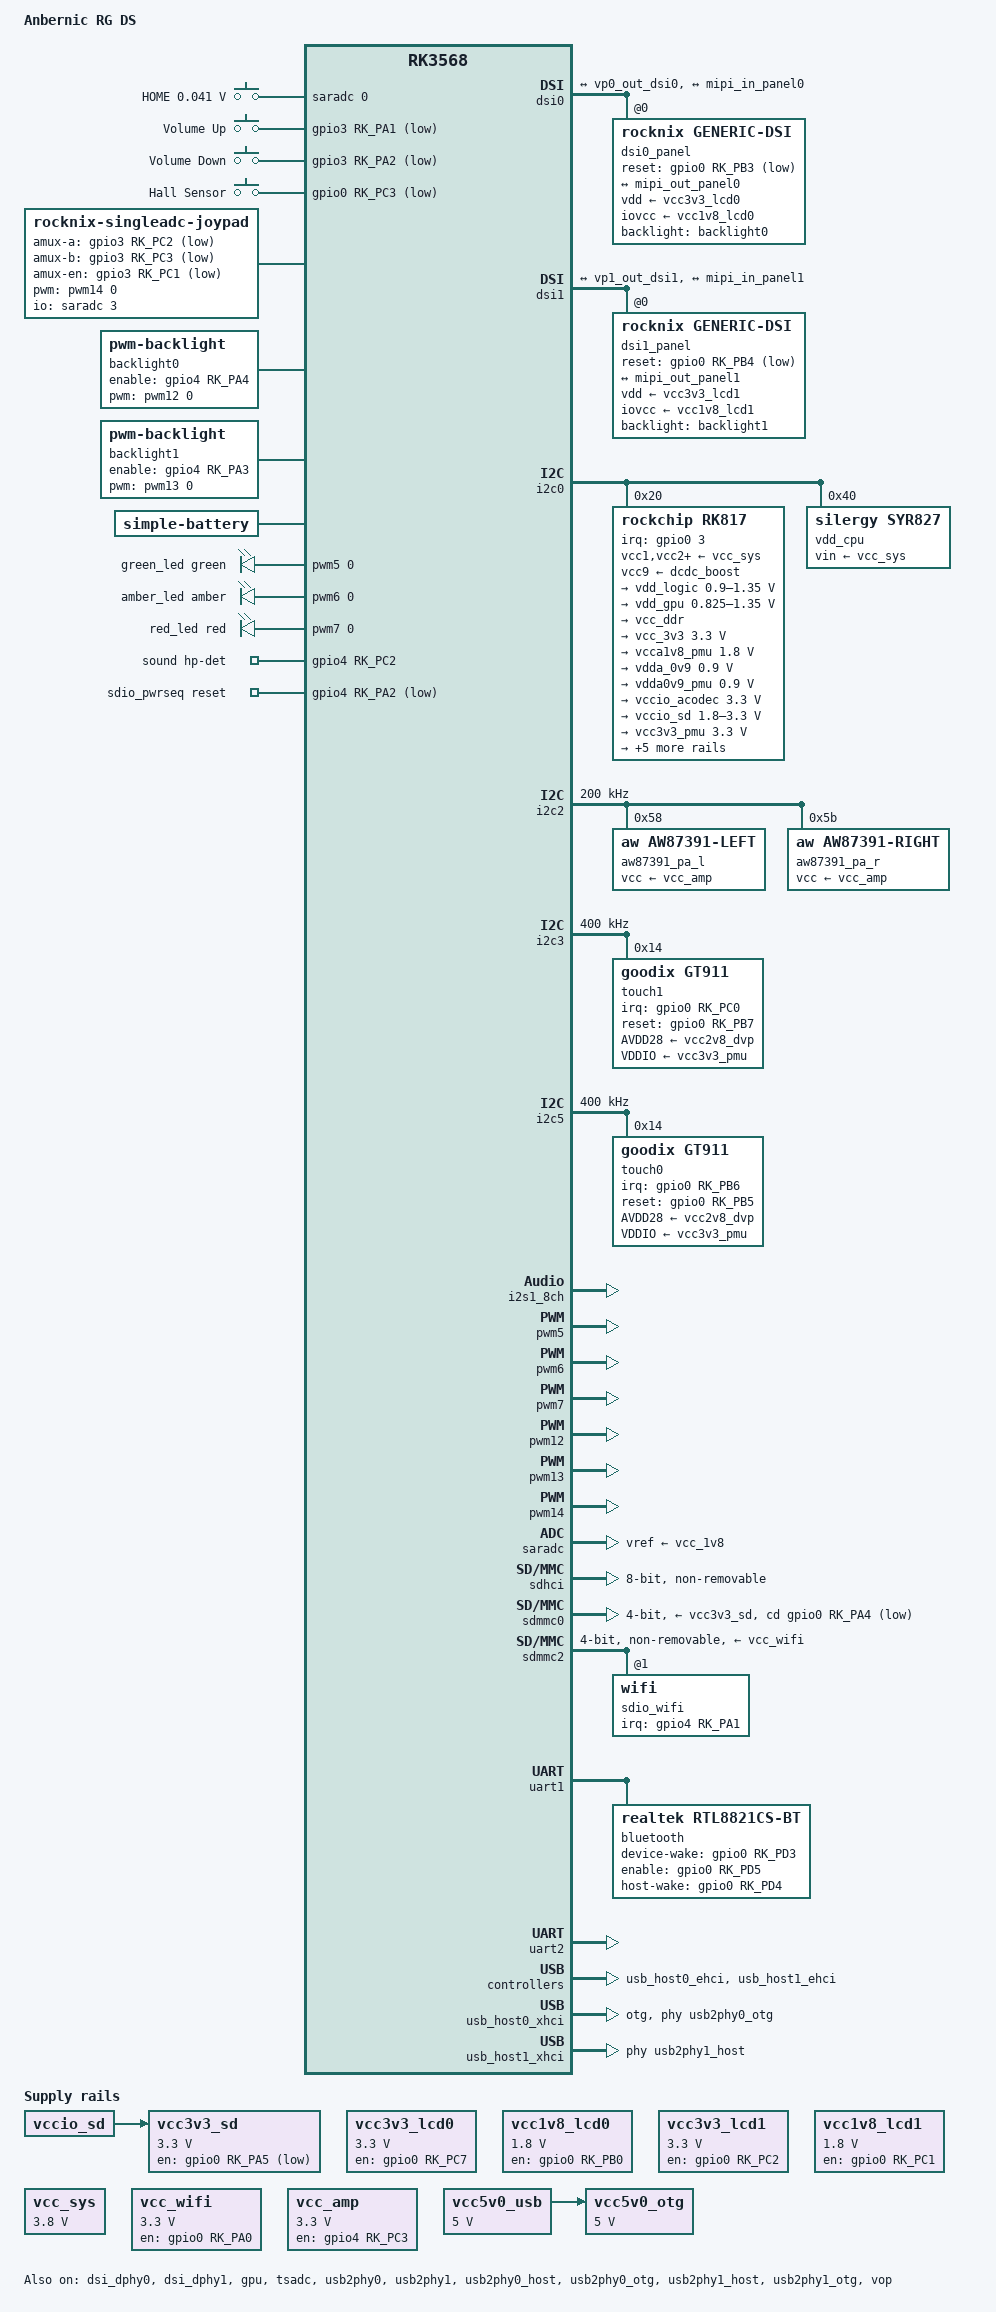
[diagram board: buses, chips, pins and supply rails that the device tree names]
// SPDX-License-Identifier: (GPL-2.0+ OR MIT)

/dts-v1/;

#include <dt-bindings/gpio/gpio.h>
#include <dt-bindings/input/linux-event-codes.h>
#include <dt-bindings/leds/common.h>
#include <dt-bindings/pinctrl/rockchip.h>
#include <dt-bindings/soc/rockchip,vop2.h>
#include "rk3568.dtsi"

/ {
	model = "Anbernic RG DS";
	chassis-type = "handset";
	compatible = "anbernic,rg-ds", "rockchip,rk3568";

	aliases {
		mmc0 = &sdhci;
		mmc1 = &sdmmc0;
		mmc2 = &sdmmc2;
	};

	chosen: chosen {
		stdout-path = "serial2:1500000n8";
	};

	adc_keys_home: adc-keys-home {
		compatible = "adc-keys";
		io-channels = <&saradc 0>;
		io-channel-names = "buttons";
		keyup-threshold-microvolt = <1800000>;
		poll-interval = <60>;

		button-home {
			label = "HOME";
			linux,code = <BTN_Z>;
			press-threshold-microvolt = <41000>;
		};
	};

	keys: gpio-keys {
		compatible = "gpio-keys";
		pinctrl-names = "default";
		pinctrl-0 = <&vol_keys>, <&gpio_hall>;
	
	    vol-up-key {
	    	gpios = <&gpio3 RK_PA1 GPIO_ACTIVE_LOW>;
	    	linux,code = <KEY_VOLUMEUP>;
	    	label = "Volume Up";
	    };

	    vol-down-key {
	    	gpios = <&gpio3 RK_PA2 GPIO_ACTIVE_LOW>;
	    	linux,code = <KEY_VOLUMEDOWN>;
	    	label = "Volume Down";
	    };

        hall-sensor {
            gpios = <&gpio0 RK_PC3 GPIO_ACTIVE_LOW>;
			linux,code = <SW_LID>;
			linux,input-type = <EV_SW>;
            label = "Hall Sensor";
            wakeup-source;
        };
    };

	joypad: rocknix-singleadc-joypad {
		compatible = "rocknix-singleadc-joypad";

		joypad-name = "retrogame_joypad";
		joypad-product = <0x1101>;
		joypad-revision = <0x0100>;
        joypad-vendor = <0x484B>;

        status = "okay";

		pinctrl-names = "default";
		pinctrl-0 = <&button_pins>;

		pwms = <&pwm14 0 100000 0>;
		pwm-names = "enable";
		rumble-boost-weak = <0x00>;
		rumble-boost-strong = <0x00>;

		io-channel-names = "amux_adc";
		io-channels = <&saradc 3>;
		amux-count = <4>;
		amux-channel-mapping = <1 0 2 3>;
		amux-a-gpios = <&gpio3 RK_PC2 GPIO_ACTIVE_LOW>;
		amux-b-gpios = <&gpio3 RK_PC3 GPIO_ACTIVE_LOW>;
		amux-en-gpios = <&gpio3 RK_PC1 GPIO_ACTIVE_LOW>;

		button-adc-scale = <2>;
		button-adc-deadzone = <64>;
		button-adc-fuzz = <32>;
		button-adc-flat = <32>;

		abs_x-p-tuning = <250>;
		abs_x-n-tuning = <250>;
		abs_y-p-tuning = <250>;
		abs_y-n-tuning = <250>;
		abs_rx-p-tuning = <250>;
		abs_rx-n-tuning = <250>;
		abs_ry-p-tuning = <250>;
		abs_ry-n-tuning = <250>;
		invert-absx;
		invert-absy;
		invert-absry;

		poll-interval = <5>;

		sw1 {
	        gpios = <&gpio2 RK_PD4 GPIO_ACTIVE_LOW>;
	        label = "GPIO DPAD-UP";
			linux,code = <BTN_DPAD_UP>;
		};
		sw2 {
	        gpios = <&gpio2 RK_PD5 GPIO_ACTIVE_LOW>;
	        label = "GPIO DPAD-DOWN";
			linux,code = <BTN_DPAD_DOWN>;				
		};
		sw3 {
	        gpios = <&gpio2 RK_PD7 GPIO_ACTIVE_LOW>;
	        label = "GPIO DPAD-LEFT";
			linux,code = <BTN_DPAD_LEFT>;					
		};
		sw4 {
	        gpios = <&gpio2 RK_PD6 GPIO_ACTIVE_LOW>;
	        label = "GPIO DPAD-RIGHT";
			linux,code = <BTN_DPAD_RIGHT>;					
		};
		sw5 {
		    gpios = <&gpio3 RK_PC0 GPIO_ACTIVE_LOW>;
		    label = "GPIO BTN-B";
		    linux,code = <BTN_SOUTH>;
		};
		sw6 {
		    gpios = <&gpio3 RK_PB7 GPIO_ACTIVE_LOW>;
		    label = "GPIO KEY BTN-A";
		    linux,code = <BTN_EAST>;
		};
		sw7 {
		    gpios = <&gpio3 RK_PA7 GPIO_ACTIVE_LOW>;
		    label = "GPIO BTN-X";
		    linux,code = <BTN_NORTH>;
		};
		sw8 {
		    gpios = <&gpio3 RK_PB0 GPIO_ACTIVE_LOW>;
		    label = "GPIO BTN-Y";
		    linux,code = <BTN_WEST>;
		};
		sw9 {
		    gpios = <&gpio3 RK_PB2 GPIO_ACTIVE_LOW>;
		    label = "GPIO BTN-SELECT";
		    linux,code = <BTN_SELECT>;
		};
		sw10 {
		    gpios = <&gpio3 RK_PB1 GPIO_ACTIVE_LOW>;
		    label = "GPIO BTN-START";
		    linux,code = <BTN_START>;
		};
		sw11 {
		    gpios = <&gpio2 RK_PD1 GPIO_ACTIVE_LOW>;
			label = "GPIO BTN-F";
		    linux,code = <BTN_MODE>;
		};	
		sw12 {
		    gpios = <&gpio3 RK_PA3 GPIO_ACTIVE_LOW>;
		    label = "GPIO BTN-TL";
		    linux,code = <BTN_TL>;
		};
		sw13 {
		    gpios = <&gpio3 RK_PA5 GPIO_ACTIVE_LOW>;
		    label = "GPIO BTN-TR";
		    linux,code = <BTN_TR>;
		};
		sw14 {
		    gpios = <&gpio3 RK_PA4 GPIO_ACTIVE_LOW>;
		    label = "GPIO BTN-TL2";
		    linux,code = <BTN_TL2>;
		};
		sw15 {
		    gpios = <&gpio3 RK_PA6 GPIO_ACTIVE_LOW>;
		    label = "GPIO BTN-TR2";
		    linux,code = <BTN_TR2>;
		};
		sw16 {
		    gpios = <&gpio2 RK_PD2 GPIO_ACTIVE_LOW>;
			label = "GPIO BTN-THUMBL";
		    linux,code = <BTN_THUMBL>;
		};
		sw17 {
		    gpios = <&gpio2 RK_PD3 GPIO_ACTIVE_LOW>;
			label = "GPIO BTN-THUMBR";
		    linux,code = <BTN_THUMBR>;
		};
    };

	backlight0: backlight0 {
		compatible = "pwm-backlight";
		enable-gpios = <&gpio4 RK_PA4 GPIO_ACTIVE_HIGH>;
		pwms = <&pwm12 0 25000 0>;
	};

	backlight1: backlight1 {
		compatible = "pwm-backlight";
		enable-gpios = <&gpio4 RK_PA3 GPIO_ACTIVE_HIGH>;
		pwms = <&pwm13 0 25000 0>;
	};

	/*
	 * Values taken from BSP device-tree except for
	 * "charge-full-design-microamp-hours" which was set
	 * incorrectly at 2500000 (based on markings on the battery),
	 * "factory-internal-resistance-micro-ohms" which was set at 8
	 * which was obviously incorrect.
	 * "constant-charge-current-max-microamp" was set at 10 AMPs
	 * which is likely incorrect but I cannot validate; furthermore
	 * the onboard charger of the rk817 cannot charge past 3.5A
	 * anyway.
	 *
	 * The current OCV table has been extended to the expected endpoint
	 * for a 3.8V 4000mAh battery, monitoring for actual discharge rates
	 * will take time, but this will at least provide more base runtime. 
	 */
	battery: battery {
		compatible = "simple-battery";
		charge-full-design-microamp-hours = <4000000>;
		precharge-current-microamp = <180000>;
		precharge-upper-limit-microvolt = <3600000>;
		charge-term-current-microamp = <300000>;
		constant-charge-current-max-microamp = <3500000>;
		constant-charge-voltage-max-microvolt = <4350000>;
		factory-internal-resistance-micro-ohms = <80000>;
		voltage-max-design-microvolt = <4350000>;
		voltage-min-design-microvolt = <3000000>;

		ocv-capacity-celsius = <20>;
		ocv-capacity-table-0 =  <4328000 100>, <4271000 95>, <4221000 90>,
    		                    <4173000 85>, <4129000 80>, <4085000 75>,
    		                    <4041000 70>, <3996000 65>, <3962000 60>,
    		                    <3931000 55>, <3904000 50>, <3882000 45>,
    		                    <3862000 40>, <3844000 35>, <3828000 30>,
    		                    <3811000 25>, <3794000 20>, <3778000 15>,
    		                    <3762000 10>, <3740000 8>, <3700000 6>,
    		                    <3650000 4>, <3600000 2>, <3500000 1>,
    		                    <3000000 0>;
    };

	leds: pwm-leds {
		compatible = "pwm-leds";

		green_led: led-0 {
			color = <LED_COLOR_ID_GREEN>;
			default-state = "on";
			function = LED_FUNCTION_POWER;
			max-brightness = <255>;
			pwms = <&pwm5 0 25000 0>;
		};

		amber_led: led-1 {
			color = <LED_COLOR_ID_AMBER>;
			function = LED_FUNCTION_CHARGING;
			max-brightness = <255>;
			pwms = <&pwm6 0 25000 0>;
		};

		red_led: led-2 {
			color = <LED_COLOR_ID_RED>;
			default-state = "off";
			function = LED_FUNCTION_STATUS;
			max-brightness = <255>;
			pwms = <&pwm7 0 25000 0>;
		};
	};

    sound {
        compatible = "simple-audio-card";
        pinctrl-0 = <&hp_det>;
        pinctrl-names = "default";
        simple-audio-card,name = "rk817_ext";
        simple-audio-card,format = "i2s";
        simple-audio-card,hp-det-gpios = <&gpio4 RK_PC2 GPIO_ACTIVE_HIGH>;
        simple-audio-card,mclk-fs = <256>;
        simple-audio-card,aux-devs = <&aw87391_pa_l>, <&aw87391_pa_r>;
        simple-audio-card,widgets =
            "Microphone", "Mic Jack",
            "Headphone", "Headphones",
            "Speaker", "Internal Speakers";
        simple-audio-card,routing =
            "MICL", "Mic Jack",
            "Headphones", "HPOL",
            "Headphones", "HPOR",
            "Internal Speakers", "Left AMP OUT",
            "Internal Speakers", "Right AMP OUT",
            "Left AMP IN", "HPOL",
            "Right AMP IN", "HPOR";
        simple-audio-card,pin-switches = "Internal Speakers";

        simple-audio-card,codec {
            sound-dai = <&rk817>;
        };

        simple-audio-card,cpu {
            sound-dai = <&i2s1_8ch>;
        };
    };

	sdio_pwrseq: sdio-pwrseq {
		compatible = "mmc-pwrseq-simple";
		clocks = <&rk817 1>;
		clock-names = "ext_clock";
		pinctrl-0 = <&wifi_enable_h>;
		pinctrl-names = "default";
		post-power-on-delay-ms = <200>;
		reset-gpios = <&gpio4 RK_PA2 GPIO_ACTIVE_LOW>;
	};

	vcc3v3_lcd0: regulator-vcc3v3-lcd0 {
		compatible = "regulator-fixed";
		enable-active-high;
		gpio = <&gpio0 RK_PC7 GPIO_ACTIVE_HIGH>;
		pinctrl-0 = <&vcc3v3_lcd0_h>;
		pinctrl-names = "default";
		regulator-min-microvolt = <3300000>;
		regulator-max-microvolt = <3300000>;
		regulator-name = "vcc3v3_lcd0";
		regulator-state-mem {
			regulator-off-in-suspend;
		};
	};

	vcc1v8_lcd0: regulator-vcc1v8-lcd0 {
		compatible = "regulator-fixed";
		enable-active-high;
		gpio = <&gpio0 RK_PB0 GPIO_ACTIVE_HIGH>;
		pinctrl-0 = <&vcc1v8_lcd0_h>;
		pinctrl-names = "default";
		regulator-min-microvolt = <1800000>;
		regulator-max-microvolt = <1800000>;
		regulator-name = "vcc1v8_lcd0";
		regulator-state-mem {
			regulator-off-in-suspend;
		};
	};

	vcc3v3_lcd1: regulator-vcc3v3-lcd1 {
		compatible = "regulator-fixed";
		enable-active-high;
		gpio = <&gpio0 RK_PC2 GPIO_ACTIVE_HIGH>;
		pinctrl-0 = <&vcc3v3_lcd1_h>;
		pinctrl-names = "default";
		regulator-min-microvolt = <3300000>;
		regulator-max-microvolt = <3300000>;
		regulator-name = "vcc3v3_lcd1";
		regulator-state-mem {
			regulator-off-in-suspend;
		};
	};

	vcc1v8_lcd1: regulator-vcc1v8-lcd1 {
		compatible = "regulator-fixed";
		enable-active-high;
		gpio = <&gpio0 RK_PC1 GPIO_ACTIVE_HIGH>;
		pinctrl-0 = <&vcc1v8_lcd1_h>;
		pinctrl-names = "default";
		regulator-min-microvolt = <1800000>;
		regulator-max-microvolt = <1800000>;
		regulator-name = "vcc1v8_lcd1";
		regulator-state-mem {
			regulator-off-in-suspend;
		};
	};

	vcc3v3_sd: regulator-vcc3v3-sd {
		compatible = "regulator-fixed";
		gpio = <&gpio0 RK_PA5 GPIO_ACTIVE_HIGH>;
		pinctrl-names = "default";
		pinctrl-0 = <&sdmmc_pwren_l>;
		regulator-name = "vcc3v3_sd";
		regulator-min-microvolt = <3300000>;
		regulator-max-microvolt = <3300000>;
		vin-supply = <&vccio_sd>;
	};

	vcc_sys: regulator-vcc-sys {
		compatible = "regulator-fixed";
		regulator-always-on;
		regulator-boot-on;
		regulator-min-microvolt = <3800000>;
		regulator-max-microvolt = <3800000>;
		regulator-name = "vcc_sys";
	};

	vcc_wifi: regulator-vcc-wifi {
		compatible = "regulator-fixed";
		enable-active-high;
		gpio = <&gpio0 RK_PA0 GPIO_ACTIVE_HIGH>;
		pinctrl-0 = <&vcc_wifi_h>;
		pinctrl-names = "default";
		regulator-always-on;
		regulator-boot-on;
		regulator-min-microvolt = <3300000>;
		regulator-max-microvolt = <3300000>;
		regulator-name = "vcc_wifi";
	};

    vcc_amp: regulator-vcc-amp {
        compatible = "regulator-fixed";
		enable-active-high;
		gpio = <&gpio4 RK_PC3 GPIO_ACTIVE_HIGH>;
		pinctrl-0 = <&vcc_amp_h>;
		pinctrl-names = "default";
		regulator-min-microvolt = <3300000>;
		regulator-max-microvolt = <3300000>;
        regulator-name = "vcc_amp";
		regulator-state-mem {
			regulator-off-in-suspend;
		};
    };

	vcc5v0_usb: regulator-vcc5v0-usb {
		compatible = "regulator-fixed";
		regulator-always-on;
		regulator-boot-on;
		regulator-min-microvolt = <5000000>;
		regulator-max-microvolt = <5000000>;
		regulator-name = "vcc5v0_usb";
	};

	vcc5v0_otg: regulator-vcc5v0-otg {
		compatible = "regulator-fixed";
		enable-active-high;
		regulator-min-microvolt = <5000000>;
		regulator-max-microvolt = <5000000>;
		regulator-name = "vcc5v0_otg";
		vin-supply = <&vcc5v0_usb>;
	};
};

&cpu0 {
	cpu-supply = <&vdd_cpu>;
};

&cpu1 {
	cpu-supply = <&vdd_cpu>;
};

&cpu2 {
	cpu-supply = <&vdd_cpu>;
};

&cpu3 {
	cpu-supply = <&vdd_cpu>;
};

&cru {
	assigned-clocks = <&pmucru CLK_RTC_32K>, <&cru PLL_GPLL>,
			  <&pmucru PLL_PPLL>, <&pmucru PLL_HPLL>, <&cru PLL_VPLL>;
	assigned-clock-rates = <32768>, <1200000000>,
			       <200000000>, <126400000>, <126400000>;
};

&dsi0 {
    status = "okay";
	#address-cells = <1>;
	#size-cells = <0>;

	dsi0_panel: panel@0 {
		compatible = "rocknix,generic-dsi";
		reg = <0>;
		backlight = <&backlight0>;
		reset-gpios = <&gpio0 RK_PB3 GPIO_ACTIVE_LOW>;
		vdd-supply = <&vcc3v3_lcd0>;
		iovcc-supply = <&vcc1v8_lcd0>;
		pinctrl-names = "default";
		pinctrl-0 = <&lcd0_rst>;
		panel_description =
			"G size=81,61 delays=20,10,50,120,50 format=rgb888 lanes=4 flags=0xc03",

			"M clock=42134 horizontal=640,260,220,260 vertical=480,10,2,16 default=1",
			
			"I seq=e000", "I seq=e193", "I seq=e265", "I seq=e3f8",
			"I seq=8003",
			"I seq=e001",
			"I seq=0000", "I seq=016a", "I seq=0310", "I seq=046a",
			"I seq=0c74",
			"I seq=1700",
			"I seq=18bf", "I seq=1901", "I seq=1a00", "I seq=1bbf", "I seq=1c01",
			"I seq=24fe",
			"I seq=3709",
			"I seq=3802", "I seq=3908", "I seq=3a1f", "I seq=3cf7", "I seq=3dff", "I seq=3eff", "I seq=3fff",
			"I seq=4003", "I seq=413c", "I seq=42ff", "I seq=430a", "I seq=4411", "I seq=4578",
			"I seq=5502", "I seq=576d",
			"I seq=580a", "I seq=590a", "I seq=5a1f", "I seq=5b1f", "I seq=5d7f", "I seq=5e56", "I seq=5f43",
			"I seq=6034", "I seq=612f", "I seq=6220", "I seq=6322", "I seq=640c", "I seq=6524", "I seq=6624", "I seq=6725",
			"I seq=6843", "I seq=6933", "I seq=6a3a", "I seq=6b2d", "I seq=6c28", "I seq=6d1b", "I seq=6e0b", "I seq=6f00",
			"I seq=707f", "I seq=7156", "I seq=7243", "I seq=7334", "I seq=742f", "I seq=7520", "I seq=7622", "I seq=770c",
			"I seq=7824", "I seq=7924", "I seq=7a25", "I seq=7b43", "I seq=7c33", "I seq=7d3a", "I seq=7e2d", "I seq=7f28",
			"I seq=801b", "I seq=810b", "I seq=8200",
			"I seq=e002",
			"I seq=005f", "I seq=015f", "I seq=025f", "I seq=035e", "I seq=0450", "I seq=0540", "I seq=065f", "I seq=0757",
			"I seq=0877", "I seq=0948", "I seq=0a48", "I seq=0b4a", "I seq=0c4a", "I seq=0d44", "I seq=0e44", "I seq=0f46",
			"I seq=1046", "I seq=115f", "I seq=125f", "I seq=135f", "I seq=145f", "I seq=155f", "I seq=165f", "I seq=175f",
			"I seq=185f", "I seq=195e", "I seq=1a50", "I seq=1b41", "I seq=1c5f", "I seq=1d57", "I seq=1e77", "I seq=1f49",
			"I seq=2049", "I seq=214b", "I seq=224b", "I seq=2345", "I seq=2445", "I seq=2547", "I seq=2647", "I seq=275f",
			"I seq=285f", "I seq=295f", "I seq=2a5f", "I seq=2b5f", "I seq=2c1f", "I seq=2d1f", "I seq=2e1e", "I seq=2f1f",
			"I seq=3010", "I seq=3101", "I seq=321f", "I seq=3317", "I seq=3417", "I seq=3507", "I seq=3607", "I seq=3705",
			"I seq=3805", "I seq=390b", "I seq=3a0b", "I seq=3b09", "I seq=3c09", "I seq=3d1f", "I seq=3e1f", "I seq=3f1f",
			"I seq=401f", "I seq=411f", "I seq=421f", "I seq=431f", "I seq=441e", "I seq=451f", "I seq=4610", "I seq=4700",
			"I seq=481f", "I seq=4917", "I seq=4a17", "I seq=4b06", "I seq=4c06", "I seq=4d04", "I seq=4e04", "I seq=4f0a",
			"I seq=500a", "I seq=5108", "I seq=5208", "I seq=531f", "I seq=541f", "I seq=551f", "I seq=561f", "I seq=571f",
			"I seq=5840", "I seq=5900", "I seq=5a00", "I seq=5b10", "I seq=5c07", "I seq=5d30", "I seq=5e01", "I seq=5f02",
			"I seq=6030", "I seq=6101", "I seq=6202", "I seq=6306", "I seq=64e9", "I seq=6540", "I seq=6602", "I seq=6773",
			"I seq=680b", "I seq=6906", "I seq=6ae9", "I seq=6b08",
			"I seq=75da", "I seq=7600", "I seq=7701",
			"I seq=78fc",
			"I seq=8108", "I seq=83f4", "I seq=8710",
			"I seq=e004",
			"I seq=000e", "I seq=02b3",
			"I seq=0960", "I seq=0e48",
			"I seq=1e00",
			"I seq=3758",
			"I seq=2b0f",
			"I seq=e005",
			"I seq=151d",
			"I seq=e000";

		port {
			mipi_in_panel0: endpoint {
				remote-endpoint = <&mipi_out_panel0>;
			};
		};
	};

	ports {
		dsi0_in: port@0 {
			reg = <0>;
			dsi0_in_vp0: endpoint {
				remote-endpoint = <&vp0_out_dsi0>;
			};
		};

		dsi0_out: port@1 {
			reg = <1>;
			mipi_out_panel0: endpoint {
				remote-endpoint = <&mipi_in_panel0>;
			};
		};
	};
};

&dsi1 {
    status = "okay";
	#address-cells = <1>;
	#size-cells = <0>;

	dsi1_panel: panel@0 {
		compatible = "rocknix,generic-dsi";
		reg = <0>;
		backlight = <&backlight1>;
		reset-gpios = <&gpio0 RK_PB4 GPIO_ACTIVE_LOW>;
		vdd-supply = <&vcc3v3_lcd1>;
		iovcc-supply = <&vcc1v8_lcd1>;
		pinctrl-names = "default";
		pinctrl-0 = <&lcd1_rst>;
		panel_description =
			"G size=81,61 delays=20,10,50,120,50 format=rgb888 lanes=4 flags=0xc03",

			"M clock=42134 horizontal=640,260,220,260 vertical=480,10,2,16 default=1",

			"I seq=e000", "I seq=e193", "I seq=e265", "I seq=e3f8",
			"I seq=8003",
			"I seq=e001",
			"I seq=0000", "I seq=016a", "I seq=0310", "I seq=046a",
			"I seq=0c74",
			"I seq=1700",
			"I seq=18bf", "I seq=1901", "I seq=1a00", "I seq=1bbf", "I seq=1c01",
			"I seq=24fe",
			"I seq=3705",
			"I seq=3802", "I seq=3908", "I seq=3a1f", "I seq=3cf7", "I seq=3dff", "I seq=3eff", "I seq=3fff",
			"I seq=4003", "I seq=413c", "I seq=42ff", "I seq=430a", "I seq=4411", "I seq=4578",
			"I seq=5502", "I seq=576d",
			"I seq=580a", "I seq=590a", "I seq=5a1f", "I seq=5b1f", "I seq=5d7f", "I seq=5e56", "I seq=5f43",
			"I seq=6034", "I seq=612f", "I seq=6220", "I seq=6322", "I seq=640c", "I seq=6524", "I seq=6624", "I seq=6725",
			"I seq=6843", "I seq=6933", "I seq=6a3a", "I seq=6b2d", "I seq=6c28", "I seq=6d1b", "I seq=6e0b", "I seq=6f00",
			"I seq=707f", "I seq=7156", "I seq=7243", "I seq=7334", "I seq=742f", "I seq=7520", "I seq=7622", "I seq=770c",
			"I seq=7824", "I seq=7924", "I seq=7a25", "I seq=7b43", "I seq=7c33", "I seq=7d3a", "I seq=7e2d", "I seq=7f28",
			"I seq=801b", "I seq=810b", "I seq=8200",
			"I seq=e002",
			"I seq=005f", "I seq=015f", "I seq=025f", "I seq=035e", "I seq=0450", "I seq=0540", "I seq=065f", "I seq=0757",
			"I seq=0877", "I seq=0948", "I seq=0a48", "I seq=0b4a", "I seq=0c4a", "I seq=0d44", "I seq=0e44", "I seq=0f46",
			"I seq=1046", "I seq=115f", "I seq=125f", "I seq=135f", "I seq=145f", "I seq=155f", "I seq=165f", "I seq=175f",
			"I seq=185f", "I seq=195e", "I seq=1a50", "I seq=1b41", "I seq=1c5f", "I seq=1d57", "I seq=1e77", "I seq=1f49",
			"I seq=2049", "I seq=214b", "I seq=224b", "I seq=2345", "I seq=2445", "I seq=2547", "I seq=2647", "I seq=275f",
			"I seq=285f", "I seq=295f", "I seq=2a5f", "I seq=2b5f", "I seq=2c1f", "I seq=2d1f", "I seq=2e1e", "I seq=2f1f",
			"I seq=3010", "I seq=3101", "I seq=321f", "I seq=3317", "I seq=3417", "I seq=3507", "I seq=3607", "I seq=3705",
			"I seq=3805", "I seq=390b", "I seq=3a0b", "I seq=3b09", "I seq=3c09", "I seq=3d1f", "I seq=3e1f", "I seq=3f1f",
			"I seq=401f", "I seq=411f", "I seq=421f", "I seq=431f", "I seq=441e", "I seq=451f", "I seq=4610", "I seq=4700",
			"I seq=481f", "I seq=4917", "I seq=4a17", "I seq=4b06", "I seq=4c06", "I seq=4d04", "I seq=4e04", "I seq=4f0a",
			"I seq=500a", "I seq=5108", "I seq=5208", "I seq=531f", "I seq=541f", "I seq=551f", "I seq=561f", "I seq=571f",
			"I seq=5840", "I seq=5900", "I seq=5a00", "I seq=5b10", "I seq=5c07", "I seq=5d30", "I seq=5e01", "I seq=5f02",
			"I seq=6030", "I seq=6101", "I seq=6202", "I seq=6306", "I seq=64e9", "I seq=6540", "I seq=6602", "I seq=6773",
			"I seq=680b", "I seq=6906", "I seq=6ae9", "I seq=6b08",
			"I seq=75da", "I seq=7600", "I seq=7701",
			"I seq=78fc",
			"I seq=8108", "I seq=83f4", "I seq=8710",
			"I seq=e004",
			"I seq=000e", "I seq=02b3",
			"I seq=0960", "I seq=0e48",
			"I seq=1e00",
			"I seq=3758",
			"I seq=2b0f",
			"I seq=e005",
			"I seq=151d",
			"I seq=e000";

		port {
			mipi_in_panel1: endpoint {
				remote-endpoint = <&mipi_out_panel1>;
			};
		};
	};

	ports {
		dsi1_in: port@0 {
			reg = <0>;
			dsi1_in_vp1: endpoint {
				remote-endpoint = <&vp1_out_dsi1>;
			};
		};

		dsi1_out: port@1 {
			reg = <1>;
			mipi_out_panel1: endpoint {
				remote-endpoint = <&mipi_in_panel1>;
			};
		};
	};
};

&dsi_dphy0 {
	status = "okay";
};

&dsi_dphy1 {
	status = "okay";
};

&gpu {
	mali-supply = <&vdd_gpu>;
	status = "okay";
};

&i2c0 {
	status = "okay";

	/*
	 * Note that "system-power-controller is needed when using
	 * mainline Arm Trusted Firmware. When using vendor provided
	 * A-TF system-power-controller is not needed.
	 */
	rk817: pmic@20 {
		compatible = "rockchip,rk817";
		reg = <0x20>;
		assigned-clock-parents = <&cru CLK_I2S1_8CH_TX>;
		assigned-clocks = <&cru I2S1_MCLKOUT_TX>;
		#clock-cells = <1>;
		clock-names = "mclk";
		clock-output-names = "rk808-clkout1", "rk808-clkout2";
		clocks = <&cru I2S1_MCLKOUT_TX>;
		interrupt-parent = <&gpio0>;
		interrupts = <3 IRQ_TYPE_LEVEL_LOW>;
		pinctrl-0 = <&i2s1m0_mclk>, <&pmic_int_l>;
		pinctrl-names = "default";
		#sound-dai-cells = <0>;
		system-power-controller;
		wakeup-source;

		vcc1-supply = <&vcc_sys>;
		vcc2-supply = <&vcc_sys>;
		vcc3-supply = <&vcc_sys>;
		vcc4-supply = <&vcc_sys>;
		vcc5-supply = <&vcc_sys>;
		vcc6-supply = <&vcc_sys>;
		vcc7-supply = <&vcc_sys>;
		vcc8-supply = <&vcc_sys>;
		vcc9-supply = <&dcdc_boost>;

		regulators {
			vdd_logic: DCDC_REG1 {
				regulator-always-on;
				regulator-boot-on;
				regulator-initial-mode = <0x2>;
				regulator-max-microvolt = <1350000>;
				regulator-min-microvolt = <900000>;
				regulator-name = "vdd_logic";
				regulator-ramp-delay = <6001>;
				regulator-state-mem {
					regulator-on-in-suspend;
					regulator-suspend-microvolt = <900000>;
				};
			};

			vdd_gpu: DCDC_REG2 {
				regulator-always-on;
				regulator-boot-on;
				regulator-initial-mode = <0x2>;
				regulator-max-microvolt = <1350000>;
				regulator-min-microvolt = <825000>;
				regulator-name = "vdd_gpu";
				regulator-ramp-delay = <6001>;
				regulator-state-mem {
					regulator-off-in-suspend;
				};
			};

			vcc_ddr: DCDC_REG3 {
				regulator-always-on;
				regulator-boot-on;
				regulator-initial-mode = <0x2>;
				regulator-name = "vcc_ddr";
				regulator-state-mem {
					regulator-on-in-suspend;
				};
			};

			vcc_3v3: DCDC_REG4 {
				regulator-always-on;
				regulator-boot-on;
				regulator-initial-mode = <0x2>;
				regulator-max-microvolt = <3300000>;
				regulator-min-microvolt = <3300000>;
				regulator-name = "vcc_3v3";
				regulator-state-mem {
					regulator-on-in-suspend;
					regulator-suspend-microvolt = <3300000>;
				};
			};

			vcca1v8_pmu: LDO_REG1 {
				regulator-always-on;
				regulator-boot-on;
				regulator-max-microvolt = <1800000>;
				regulator-min-microvolt = <1800000>;
				regulator-name = "vcca1v8_pmu";
				regulator-state-mem {
					regulator-on-in-suspend;
					regulator-suspend-microvolt = <1800000>;
				};
			};

			vdda_0v9: LDO_REG2 {
				regulator-always-on;
				regulator-boot-on;
				regulator-max-microvolt = <900000>;
				regulator-min-microvolt = <900000>;
				regulator-name = "vdda_0v9";
				regulator-state-mem {
					regulator-off-in-suspend;
				};
			};

			vdda0v9_pmu: LDO_REG3 {
				regulator-always-on;
				regulator-boot-on;
				regulator-max-microvolt = <900000>;
				regulator-min-microvolt = <900000>;
				regulator-name = "vdda0v9_pmu";
				regulator-state-mem {
					regulator-on-in-suspend;
					regulator-suspend-microvolt = <900000>;
				};
			};

			vccio_acodec: LDO_REG4 {
				regulator-always-on;
				regulator-boot-on;
				regulator-max-microvolt = <3300000>;
				regulator-min-microvolt = <3300000>;
				regulator-name = "vccio_acodec";
				regulator-state-mem {
					regulator-off-in-suspend;
				};
			};

			vccio_sd: LDO_REG5 {
				regulator-always-on;
				regulator-boot-on;
				regulator-max-microvolt = <3300000>;
				regulator-min-microvolt = <1800000>;
				regulator-name = "vccio_sd";
				regulator-state-mem {
					regulator-off-in-suspend;
				};
			};

			vcc3v3_pmu: LDO_REG6 {
				regulator-always-on;
				regulator-boot-on;
				regulator-max-microvolt = <3300000>;
				regulator-min-microvolt = <3300000>;
				regulator-name = "vcc3v3_pmu";
				regulator-state-mem {
					regulator-on-in-suspend;
					regulator-suspend-microvolt = <3300000>;
				};
			};

			vcc_1v8: LDO_REG7 {
				regulator-always-on;
				regulator-boot-on;
				regulator-max-microvolt = <1800000>;
				regulator-min-microvolt = <1800000>;
				regulator-name = "vcc_1v8";
				regulator-state-mem {
					regulator-on-in-suspend;
				};
			};

			vcc1v8_dvp: LDO_REG8 {
				regulator-always-on;
				regulator-boot-on;
				regulator-max-microvolt = <3300000>;
				regulator-min-microvolt = <1800000>;
				regulator-name = "vcc1v8_dvp";
				regulator-state-mem {
					regulator-off-in-suspend;
				};
			};

			vcc2v8_dvp: LDO_REG9 {
				regulator-always-on;
				regulator-boot-on;
				regulator-max-microvolt = <2800000>;
				regulator-min-microvolt = <2800000>;
				regulator-name = "vcc2v8_dvp";
				regulator-state-mem {
					regulator-off-in-suspend;
				};
			};

			dcdc_boost: BOOST {
				regulator-always-on;
				regulator-boot-on;
				regulator-max-microvolt = <5400000>;
				regulator-min-microvolt = <4700000>;
				regulator-name = "boost";
				regulator-state-mem {
					regulator-off-in-suspend;
				};
			};

			otg_switch: OTG_SWITCH {
				regulator-name = "otg_switch";
				regulator-state-mem {
					regulator-off-in-suspend;
				};
			};
		};

	    rk817_charger: charger {
			monitored-battery = <&battery>;
			rockchip,resistor-sense-micro-ohms = <10000>;
			rockchip,sleep-enter-current-microamp = <150000>;
			rockchip,sleep-filter-current-microamp = <100000>;
		};

        rk817_codec: codec {
            rockchip,mic-in-differential;
        };
	};

	vdd_cpu: regulator@40 {
		compatible = "silergy,syr827";
		reg = <0x40>;
		fcs,suspend-voltage-selector = <1>;
		regulator-always-on;
		regulator-boot-on;
		regulator-min-microvolt = <712500>;
		regulator-max-microvolt = <1390000>;
		regulator-name = "vdd_cpu";
		regulator-ramp-delay = <2300>;
		vin-supply = <&vcc_sys>;
		regulator-state-mem {
			regulator-off-in-suspend;
		};
	};
};

&i2c2 {
	clock-frequency = <200000>;
	pinctrl-0 = <&i2c2m1_xfer>;
	pinctrl-names = "default";
	status = "okay";

    aw87391_pa_l: aw87391@58 {
            compatible = "aw,aw87391-left";
            reg = <0x58>;
            sound-name-prefix = "Left AMP";
            vcc-supply = <&vcc_amp>;
    };
    aw87391_pa_r: aw87391@5b {
            compatible = "aw,aw87391-right";
            reg = <0x5b>;
            sound-name-prefix = "Right AMP";
            vcc-supply = <&vcc_amp>;
    };
};

&i2c3 {
	clock-frequency = <400000>;
	pinctrl-0 = <&i2c3m1_xfer>;
	pinctrl-names = "default";
	status = "okay";

	touch1: touchscreen@14 {
		compatible = "goodix,gt911";
		reg = <0x14>;
		AVDD28-supply = <&vcc2v8_dvp>;
		interrupt-parent = <&gpio0>;
		interrupts = <RK_PC0 IRQ_TYPE_LEVEL_LOW>;
		irq-gpios = <&gpio0 RK_PC0 GPIO_ACTIVE_HIGH>;
		reset-gpios = <&gpio0 RK_PB7 GPIO_ACTIVE_HIGH>;
		touchscreen-size-x = <640>;
		touchscreen-size-y = <480>;
		touchscreen-inverted-x;
		touchscreen-inverted-y;
		pinctrl-names = "default";
		pinctrl-0 = <&touch1_rst &touch1_irq>;
		VDDIO-supply = <&vcc3v3_pmu>;
	};
};

&i2c5 {
	clock-frequency = <400000>;
	pinctrl-0 = <&i2c5m0_xfer>;
	pinctrl-names = "default";
	status = "okay";

	touch0: touchscreen@14 {
		compatible = "goodix,gt911";
		reg = <0x14>;
		AVDD28-supply = <&vcc2v8_dvp>;
		interrupt-parent = <&gpio0>;
		interrupts = <RK_PB6 IRQ_TYPE_LEVEL_LOW>;
		irq-gpios = <&gpio0 RK_PB6 GPIO_ACTIVE_HIGH>;
		reset-gpios = <&gpio0 RK_PB5 GPIO_ACTIVE_HIGH>;
		touchscreen-size-x = <640>;
		touchscreen-size-y = <480>;
		pinctrl-names = "default";
		pinctrl-0 = <&touch0_rst &touch0_irq>;
		VDDIO-supply = <&vcc3v3_pmu>;
	};
};

&i2s1_8ch {
    pinctrl-0 = <&i2s1m0_sclktx>, <&i2s1m0_lrcktx>, <&i2s1m0_sdi0>, <&i2s1m0_sdo0>;
    pinctrl-names = "default";
    rockchip,trcm-sync-tx-only;
    status = "okay";
};

&pinctrl {
	gpio-lcd {
		lcd0_rst: lcd0-rst {
			rockchip,pins =
				<0 RK_PB3 RK_FUNC_GPIO &pcfg_pull_none>;
		};

		lcd1_rst: lcd1-rst {
			rockchip,pins =
				<0 RK_PB4 RK_FUNC_GPIO &pcfg_pull_none>;
		};
	};

	pmic {
		pmic_int_l: pmic-int-l {
			rockchip,pins =
				<0 RK_PA3 RK_FUNC_GPIO &pcfg_pull_up>;
		};
	};

	sdio-pwrseq {
		wifi_enable_h: wifi-enable-h {
			rockchip,pins =
				<4 RK_PA2 RK_FUNC_GPIO &pcfg_pull_none>;
		};
	};

	sdmmc {
		sdmmc_pwren_l: sdmmc-pwren-l {
			rockchip,pins =
				<0 RK_PA5 RK_FUNC_GPIO &pcfg_pull_none>;
		};
	};

	touch {
		touch0_rst: touch0-rst {
			rockchip,pins =
				<0 RK_PB5 RK_FUNC_GPIO &pcfg_pull_up>;
		};

		touch0_irq: touch0-irq {
			rockchip,pins =
				<0 RK_PB6 RK_FUNC_GPIO &pcfg_pull_up>;
		};

		touch1_rst: touch1-rst {
			rockchip,pins =
				<0 RK_PB7 RK_FUNC_GPIO &pcfg_pull_up>;
		};

		touch1_irq: touch1-irq {
			rockchip,pins =
				<0 RK_PC0 RK_FUNC_GPIO &pcfg_pull_up>;
		};
	};

	vcc-lcd {
		vcc3v3_lcd0_h: vcc3v3-lcd0-h {
			rockchip,pins =
				<0 RK_PC7 RK_FUNC_GPIO &pcfg_pull_none>;
		};

		vcc1v8_lcd0_h: vcc1v8-lcd0-h {
			rockchip,pins =
				<0 RK_PB0 RK_FUNC_GPIO &pcfg_pull_none>;
		};

		vcc3v3_lcd1_h: vcc3v3-lcd1-h {
			rockchip,pins =
				<0 RK_PC2 RK_FUNC_GPIO &pcfg_pull_none>;
		};

		vcc1v8_lcd1_h: vcc1v8-lcd1-h {
			rockchip,pins =
				<0 RK_PC1 RK_FUNC_GPIO &pcfg_pull_none>;
		};
	};

	vcc-wifi {
		vcc_wifi_h: vcc-wifi-h {
			rockchip,pins =
				<0 RK_PA0 RK_FUNC_GPIO &pcfg_pull_none>;
		};
	};

	wifi-irq {
		wifi_host_wake_irq: wifi-host-wake-irq {
			rockchip,pins =
				<4 RK_PA1 RK_FUNC_GPIO &pcfg_pull_up>;
		};
	};

	hall_sensor {
		gpio_hall: gpio-hall {
			rockchip,pins = 
                <0 RK_PC3 RK_FUNC_GPIO &pcfg_pull_up>;
		};
	};

	vcc-amp {
		vcc_amp_h: vcc-amp-h {
			rockchip,pins =
				<4 RK_PC3 RK_FUNC_GPIO &pcfg_pull_none>;
		};
	};

	keys {
		vol_keys: vol-keys {
			rockchip,pins = 
				<3 RK_PA1 RK_FUNC_GPIO &pcfg_pull_up>,
				<3 RK_PA2 RK_FUNC_GPIO &pcfg_pull_up>;
		};
	};

    hp-detect {
        hp_det: hp-det {
            rockchip,pins = 
                <4 RK_PC2 RK_FUNC_GPIO &pcfg_pull_none>;
        };
    };

	buttons {
		button_pins: button-pins {
			rockchip,pins = 
				<2 RK_PD1 RK_FUNC_GPIO &pcfg_pull_up>,
				<2 RK_PD2 RK_FUNC_GPIO &pcfg_pull_up>,
				<2 RK_PD3 RK_FUNC_GPIO &pcfg_pull_up>,
				<2 RK_PD4 RK_FUNC_GPIO &pcfg_pull_up>,
				<2 RK_PD5 RK_FUNC_GPIO &pcfg_pull_up>,
				<2 RK_PD6 RK_FUNC_GPIO &pcfg_pull_up>,
				<2 RK_PD7 RK_FUNC_GPIO &pcfg_pull_up>,
				<3 RK_PA0 RK_FUNC_GPIO &pcfg_pull_up>,
				<3 RK_PC1 RK_FUNC_GPIO &pcfg_pull_up>,
				<3 RK_PC2 RK_FUNC_GPIO &pcfg_pull_up>,
				<3 RK_PC3 RK_FUNC_GPIO &pcfg_pull_up>,
				<3 RK_PA3 RK_FUNC_GPIO &pcfg_pull_up>,
				<3 RK_PA4 RK_FUNC_GPIO &pcfg_pull_up>,
				<3 RK_PA5 RK_FUNC_GPIO &pcfg_pull_up>,
				<3 RK_PA6 RK_FUNC_GPIO &pcfg_pull_up>,
				<3 RK_PA7 RK_FUNC_GPIO &pcfg_pull_up>,
				<3 RK_PB0 RK_FUNC_GPIO &pcfg_pull_up>,
				<3 RK_PB1 RK_FUNC_GPIO &pcfg_pull_up>,
				<3 RK_PB2 RK_FUNC_GPIO &pcfg_pull_up>,
				<3 RK_PB7 RK_FUNC_GPIO &pcfg_pull_up>,
				<3 RK_PC0 RK_FUNC_GPIO &pcfg_pull_up>;
		};
	};
};

&pmu_io_domains {
	status = "okay";
	pmuio1-supply = <&vcc3v3_pmu>;
	pmuio2-supply = <&vcc3v3_pmu>;
	vccio1-supply = <&vccio_acodec>;
	vccio3-supply = <&vccio_sd>;
	vccio4-supply = <&vcc_3v3>;
	vccio5-supply = <&vcc_3v3>;
	vccio6-supply = <&vcc_1v8>;
	vccio7-supply = <&vcc_3v3>;
};

&pwm5 {
	pinctrl-0 = <&pwm5_pins>;
	pinctrl-names = "default";
	status = "okay";
};

&pwm6 {
	pinctrl-0 = <&pwm6_pins>;
	pinctrl-names = "default";
	status = "okay";
};

&pwm7 {
	pinctrl-0 = <&pwm7_pins>;
	pinctrl-names = "default";
	status = "okay";
};

&pwm12 {
	pinctrl-0 = <&pwm12m1_pins>;
	pinctrl-names = "default";
	status = "okay";
};

&pwm13 {
	pinctrl-0 = <&pwm13m1_pins>;
	pinctrl-names = "default";
	status = "okay";
};

&pwm14 {
	pinctrl-0 = <&pwm14m0_pins>;
	pinctrl-names = "default";
	status = "okay";
};

&saradc {
	vref-supply = <&vcc_1v8>;
	status = "okay";
};

&sdhci {
	bus-width = <8>;
	max-frequency = <200000000>;
	no-sd;
	no-sdio;
	non-removable;
	pinctrl-0 = <&emmc_bus8 &emmc_clk &emmc_cmd &emmc_datastrobe &emmc_rstnout>;
	pinctrl-names = "default";
	status = "okay";
};

&sdmmc0 {
	bus-width = <4>;
	cap-sd-highspeed;
	cd-gpios = <&gpio0 RK_PA4 GPIO_ACTIVE_LOW>;
	disable-wp;
	pinctrl-0 = <&sdmmc0_bus4 &sdmmc0_clk &sdmmc0_cmd &sdmmc0_det>;
	pinctrl-names = "default";
	sd-uhs-sdr104;
	vmmc-supply = <&vcc3v3_sd>;
	vqmmc-supply = <&vccio_sd>;
	status = "okay";
};

&sdmmc2 {
	#address-cells = <1>;
	bus-width = <4>;
	cap-sd-highspeed;
	cap-sdio-irq;
	keep-power-in-suspend;
	max-frequency = <100000000>;
	mmc-pwrseq = <&sdio_pwrseq>;
	non-removable;
	pinctrl-0 = <&sdmmc2m0_bus4 &sdmmc2m0_clk &sdmmc2m0_cmd>;
	pinctrl-names = "default";
	sd-uhs-sdr104;
	#size-cells = <0>;
	vmmc-supply = <&vcc_wifi>;
	status = "okay";

	sdio_wifi: wifi@1 {
		reg = <1>;
		interrupt-parent = <&gpio4>;
		interrupts = <RK_PA1 IRQ_TYPE_LEVEL_LOW>;
		interrupt-names = "host-wake";
		pinctrl-0 = <&wifi_host_wake_irq>;
		pinctrl-names = "default";
	};
};

&tsadc {
	rockchip,hw-tshut-mode = <0>;
	rockchip,hw-tshut-polarity = <0>;
	status = "okay";
};

&uart1 {
	pinctrl-0 = <&uart1m1_xfer &uart1m1_ctsn &uart1m1_rtsn>;
	pinctrl-names = "default";
	uart-has-rtscts;
	status = "okay";

	bluetooth {
		compatible = "realtek,rtl8821cs-bt", "realtek,rtl8723bs-bt";
		device-wake-gpios = <&gpio0 RK_PD3 GPIO_ACTIVE_HIGH>;
		enable-gpios = <&gpio0 RK_PD5 GPIO_ACTIVE_HIGH>;
		host-wake-gpios = <&gpio0 RK_PD4 GPIO_ACTIVE_HIGH>;
	};
};

/* No DMA for a debug serial console. */
&uart2 {
	/delete-property/ dmas;
	status = "okay";
};

&usb2phy0 {
	status = "okay";
};

&usb2phy1 {
	status = "okay";
};

&usb2phy0_host {
	status = "okay";
};

&usb2phy0_otg {
	vbus-supply = <&vcc5v0_otg>;
	status = "okay";
};

&usb2phy1_host {
	vbus-supply = <&vcc5v0_usb>;
	status = "okay";
};

&usb2phy1_otg {
	status = "okay";
};

&usb_host0_ehci {
	status = "okay";
};

&usb_host0_xhci {
	dr_mode = "otg";
	phys = <&usb2phy0_otg>;
	phy-names = "usb2-phy";
	extcon = <&usb2phy0>;
	maximum-speed = "high-speed";
	status = "okay";
};

&usb_host1_ehci {
	status = "okay";
};

&usb_host1_xhci {
	phy-names = "usb2-phy";
	phys = <&usb2phy1_host>;
	maximum-speed = "high-speed";
	status = "okay";
};

&vop {
	assigned-clocks = <&cru DCLK_VOP0>, <&cru DCLK_VOP1>;
	assigned-clock-parents = <&pmucru PLL_HPLL>, <&cru PLL_VPLL>;
	status = "okay";
};

&vop_mmu {
	status = "okay";
};

&vp0 {
	vp0_out_dsi0: endpoint@ROCKCHIP_VOP2_EP_MIPI0 {
		reg = <ROCKCHIP_VOP2_EP_MIPI0>;
		remote-endpoint = <&dsi0_in_vp0>;
	};
};

&vp1 {
	vp1_out_dsi1: endpoint@ROCKCHIP_VOP2_EP_MIPI1 {
		reg = <ROCKCHIP_VOP2_EP_MIPI1>;
		remote-endpoint = <&dsi1_in_vp1>;
	};
};

/* The following nodes break PM unless disabled */
&combphy1 {
	status = "disabled";
};

&usb_host0_ohci {
	status = "disabled";
};

&usb_host1_ohci {
	status = "disabled";
};
